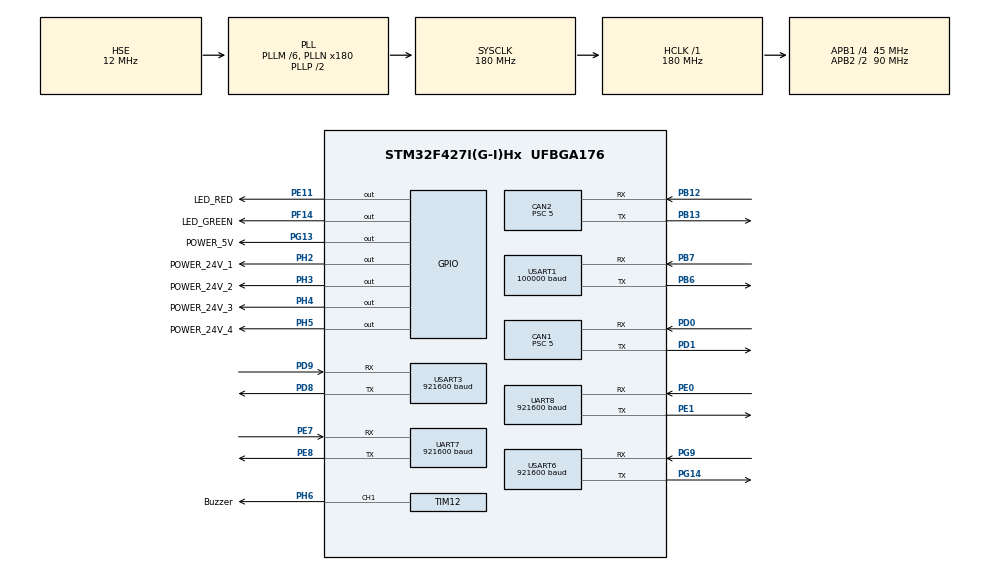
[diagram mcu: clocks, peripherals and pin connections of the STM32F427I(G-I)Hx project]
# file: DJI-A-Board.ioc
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CAN1.ABOM=ENABLE
CAN1.BS1=CAN_BS1_3TQ
CAN1.BS2=CAN_BS2_5TQ
CAN1.CalculateBaudRate=1000000
CAN1.CalculateTimeBit=1000
CAN1.CalculateTimeQuantum=111.11111111111111
CAN1.Prescaler=5
CAN2.ABOM=ENABLE
CAN2.BS1=CAN_BS1_3TQ
CAN2.BS2=CAN_BS2_5TQ
CAN2.CalculateBaudRate=1000000
CAN2.CalculateTimeBit=1000
CAN2.CalculateTimeQuantum=111.11111111111111
CAN2.Prescaler=5
Dma.Request0=USART3_RX
Dma.Request1=USART3_TX
Dma.Request2=UART7_RX
Dma.Request3=USART6_RX
Dma.Request4=USART6_TX
Dma.Request5=UART8_RX
Dma.Request6=UART8_TX
Dma.Request7=USART1_RX
Dma.UART7_RX.2.Direction=DMA_PERIPH_TO_MEMORY
Dma.UART7_RX.2.FIFOMode=DMA_FIFOMODE_DISABLE
Dma.UART7_RX.2.Instance=DMA1_Stream3
Dma.UART7_RX.2.MemDataAlignment=DMA_MDATAALIGN_BYTE
Dma.UART7_RX.2.MemInc=DMA_MINC_ENABLE
Dma.UART7_RX.2.Mode=DMA_NORMAL
Dma.UART7_RX.2.PeriphDataAlignment=DMA_PDATAALIGN_BYTE
Dma.UART7_RX.2.PeriphInc=DMA_PINC_DISABLE
Dma.UART7_RX.2.Priority=DMA_PRIORITY_LOW
Dma.UART8_RX.5.Direction=DMA_PERIPH_TO_MEMORY
Dma.UART8_RX.5.FIFOMode=DMA_FIFOMODE_DISABLE
Dma.UART8_RX.5.Instance=DMA1_Stream6
Dma.UART8_RX.5.MemDataAlignment=DMA_MDATAALIGN_BYTE
Dma.UART8_RX.5.MemInc=DMA_MINC_ENABLE
Dma.UART8_RX.5.Mode=DMA_NORMAL
Dma.UART8_RX.5.PeriphDataAlignment=DMA_PDATAALIGN_BYTE
Dma.UART8_RX.5.PeriphInc=DMA_PINC_DISABLE
Dma.UART8_RX.5.Priority=DMA_PRIORITY_LOW
Dma.UART8_TX.6.Direction=DMA_MEMORY_TO_PERIPH
Dma.UART8_TX.6.FIFOMode=DMA_FIFOMODE_DISABLE
Dma.UART8_TX.6.Instance=DMA1_Stream0
Dma.UART8_TX.6.MemDataAlignment=DMA_MDATAALIGN_BYTE
Dma.UART8_TX.6.MemInc=DMA_MINC_ENABLE
Dma.UART8_TX.6.Mode=DMA_NORMAL
Dma.UART8_TX.6.PeriphDataAlignment=DMA_PDATAALIGN_BYTE
Dma.UART8_TX.6.PeriphInc=DMA_PINC_DISABLE
Dma.UART8_TX.6.Priority=DMA_PRIORITY_LOW
Dma.USART1_RX.7.Direction=DMA_PERIPH_TO_MEMORY
Dma.USART1_RX.7.FIFOMode=DMA_FIFOMODE_DISABLE
Dma.USART1_RX.7.Instance=DMA2_Stream2
Dma.USART1_RX.7.MemDataAlignment=DMA_MDATAALIGN_BYTE
Dma.USART1_RX.7.MemInc=DMA_MINC_ENABLE
Dma.USART1_RX.7.Mode=DMA_CIRCULAR
Dma.USART1_RX.7.PeriphDataAlignment=DMA_PDATAALIGN_BYTE
Dma.USART1_RX.7.PeriphInc=DMA_PINC_DISABLE
Dma.USART1_RX.7.Priority=DMA_PRIORITY_LOW
Dma.USART3_RX.0.Direction=DMA_PERIPH_TO_MEMORY
Dma.USART3_RX.0.FIFOMode=DMA_FIFOMODE_DISABLE
Dma.USART3_RX.0.Instance=DMA1_Stream1
Dma.USART3_RX.0.MemDataAlignment=DMA_MDATAALIGN_BYTE
Dma.USART3_RX.0.MemInc=DMA_MINC_ENABLE
Dma.USART3_RX.0.Mode=DMA_NORMAL
Dma.USART3_RX.0.PeriphDataAlignment=DMA_PDATAALIGN_BYTE
Dma.USART3_RX.0.PeriphInc=DMA_PINC_DISABLE
Dma.USART3_RX.0.Priority=DMA_PRIORITY_LOW
Dma.USART3_TX.1.Direction=DMA_MEMORY_TO_PERIPH
Dma.USART3_TX.1.FIFOMode=DMA_FIFOMODE_DISABLE
Dma.USART3_TX.1.Instance=DMA1_Stream4
Dma.USART3_TX.1.MemDataAlignment=DMA_MDATAALIGN_BYTE
Dma.USART3_TX.1.MemInc=DMA_MINC_ENABLE
Dma.USART3_TX.1.Mode=DMA_NORMAL
Dma.USART3_TX.1.PeriphDataAlignment=DMA_PDATAALIGN_BYTE
Dma.USART3_TX.1.PeriphInc=DMA_PINC_DISABLE
Dma.USART3_TX.1.Priority=DMA_PRIORITY_LOW
Dma.USART6_RX.3.Direction=DMA_PERIPH_TO_MEMORY
Dma.USART6_RX.3.FIFOMode=DMA_FIFOMODE_DISABLE
Dma.USART6_RX.3.Instance=DMA2_Stream1
Dma.USART6_RX.3.MemDataAlignment=DMA_MDATAALIGN_BYTE
Dma.USART6_RX.3.MemInc=DMA_MINC_ENABLE
Dma.USART6_RX.3.Mode=DMA_NORMAL
Dma.USART6_RX.3.PeriphDataAlignment=DMA_PDATAALIGN_BYTE
Dma.USART6_RX.3.PeriphInc=DMA_PINC_DISABLE
Dma.USART6_RX.3.Priority=DMA_PRIORITY_LOW
Dma.USART6_TX.4.Direction=DMA_MEMORY_TO_PERIPH
Dma.USART6_TX.4.FIFOMode=DMA_FIFOMODE_DISABLE
Dma.USART6_TX.4.Instance=DMA2_Stream6
Dma.USART6_TX.4.MemDataAlignment=DMA_MDATAALIGN_BYTE
Dma.USART6_TX.4.MemInc=DMA_MINC_ENABLE
Dma.USART6_TX.4.Mode=DMA_NORMAL
Dma.USART6_TX.4.PeriphDataAlignment=DMA_PDATAALIGN_BYTE
Dma.USART6_TX.4.PeriphInc=DMA_PINC_DISABLE
Dma.USART6_TX.4.Priority=DMA_PRIORITY_LOW
Mcu.Family=STM32F4
Mcu.Name=STM32F427I(G-I)Hx
Mcu.Package=UFBGA176
NVIC.CAN1_RX0_IRQn=true\:0\:0\:false\:false\:true\:true\:true\:true
NVIC.CAN2_RX0_IRQn=true\:0\:0\:false\:false\:true\:true\:true\:true
NVIC.DMA1_Stream0_IRQn=true\:0\:0\:false\:false\:true\:false\:true\:true
NVIC.DMA1_Stream1_IRQn=true\:0\:0\:false\:false\:true\:false\:true\:true
NVIC.DMA1_Stream3_IRQn=true\:0\:0\:false\:false\:true\:false\:true\:true
NVIC.DMA1_Stream4_IRQn=true\:0\:0\:false\:false\:true\:false\:true\:true
NVIC.DMA1_Stream6_IRQn=true\:0\:0\:false\:false\:true\:false\:true\:true
NVIC.DMA2_Stream1_IRQn=true\:0\:0\:false\:false\:true\:false\:true\:true
NVIC.DMA2_Stream2_IRQn=true\:0\:0\:false\:false\:true\:false\:true\:true
NVIC.DMA2_Stream6_IRQn=true\:0\:0\:false\:false\:true\:false\:true\:true
NVIC.PriorityGroup=NVIC_PRIORITYGROUP_4
NVIC.TIM2_IRQn=true\:0\:0\:false\:false\:true\:true\:true\:true
NVIC.UART8_IRQn=true\:0\:0\:false\:false\:true\:true\:true\:true
NVIC.USART1_IRQn=true\:0\:0\:false\:false\:true\:true\:true\:true
NVIC.USART6_IRQn=true\:0\:0\:false\:false\:true\:true\:true\:true
PA13.Mode=Serial_Wire
PA13.Signal=SYS_JTMS-SWDIO
PA14.Mode=Serial_Wire
PA14.Signal=SYS_JTCK-SWCLK
PB12.Mode=CAN_Activate
PB12.Signal=CAN2_RX
PB13.Mode=CAN_Activate
PB13.Signal=CAN2_TX
PB6.GPIO_PuPd=GPIO_NOPULL
PB6.Mode=Asynchronous
PB6.Signal=USART1_TX
PB7.GPIO_PuPd=GPIO_NOPULL
PB7.Mode=Asynchronous
PB7.Signal=USART1_RX
PD0.Mode=CAN_Activate
PD0.Signal=CAN1_RX
PD1.Mode=CAN_Activate
PD1.Signal=CAN1_TX
PD8.Mode=Asynchronous
PD8.Signal=USART3_TX
PD9.Mode=Asynchronous
PD9.Signal=USART3_RX
PE0.Mode=Asynchronous
PE0.Signal=UART8_RX
PE1.Mode=Asynchronous
PE1.Signal=UART8_TX
PE11.GPIO_Label=LED_RED
PE11.GPIO_PuPd=GPIO_PULLUP
PE11.PinState=GPIO_PIN_SET
PE11.Signal=GPIO_Output
PE7.Mode=Asynchronous
PE7.Signal=UART7_RX
PE8.Mode=Asynchronous
PE8.Signal=UART7_TX
PF14.GPIO_Label=LED_GREEN
PF14.GPIO_PuPd=GPIO_PULLUP
PF14.PinState=GPIO_PIN_SET
PF14.Signal=GPIO_Output
PG13.GPIO_Label=POWER_5V
PG13.Signal=GPIO_Output
PG14.GPIO_PuPd=GPIO_NOPULL
PG14.Mode=Asynchronous
PG14.Signal=USART6_TX
PG9.GPIO_PuPd=GPIO_NOPULL
PG9.Mode=Asynchronous
PG9.Signal=USART6_RX
PH0/OSC_IN.Mode=HSE-External-Oscillator
PH0/OSC_IN.Signal=RCC_OSC_IN
PH1/OSC_OUT.Mode=HSE-External-Oscillator
PH1/OSC_OUT.Signal=RCC_OSC_OUT
PH2.GPIO_Label=POWER_24V_1
PH2.GPIO_PuPd=GPIO_PULLUP
PH2.PinState=GPIO_PIN_SET
PH2.Signal=GPIO_Output
PH3.GPIO_Label=POWER_24V_2
PH3.GPIO_PuPd=GPIO_PULLUP
PH3.PinState=GPIO_PIN_SET
PH3.Signal=GPIO_Output
PH4.GPIO_Label=POWER_24V_3
PH4.GPIO_PuPd=GPIO_PULLUP
PH4.PinState=GPIO_PIN_SET
PH4.Signal=GPIO_Output
PH5.GPIO_Label=POWER_24V_4
PH5.GPIO_PuPd=GPIO_PULLUP
PH5.PinState=GPIO_PIN_SET
PH5.Signal=GPIO_Output
PH6.GPIO_Label=Buzzer
PH6.Signal=S_TIM12_CH1
ProjectManager.HeapSize=0x200
ProjectManager.StackSize=0x400
ProjectManager.TargetToolchain=STM32CubeIDE
RCC.48MHZClocksFreq_Value=90000000
RCC.AHBFreq_Value=180000000
RCC.APB1CLKDivider=RCC_HCLK_DIV4
RCC.APB1Freq_Value=45000000
RCC.APB1TimFreq_Value=90000000
RCC.APB2CLKDivider=RCC_HCLK_DIV2
RCC.APB2Freq_Value=90000000
RCC.APB2TimFreq_Value=180000000
RCC.CortexFreq_Value=180000000
RCC.HCLKFreq_Value=180000000
RCC.HSE_VALUE=12000000
RCC.HSI_VALUE=16000000
RCC.LSE_VALUE=32768
RCC.PLLM=6
RCC.PLLN=180
RCC.PLLSourceVirtual=RCC_PLLSOURCE_HSE
RCC.SYSCLKFreq_VALUE=180000000
RCC.SYSCLKSource=RCC_SYSCLKSOURCE_PLLCLK
RCC.VCOOutputFreq_Value=360000000
SH.S_TIM12_CH1.0=TIM12_CH1,PWM Generation1 CH1
TIM12.Channel-PWM\ Generation1\ CH1=TIM_CHANNEL_1
TIM12.Prescaler=9-1
TIM2.AutoReloadPreload=TIM_AUTORELOAD_PRELOAD_ENABLE
TIM2.Period=200-1
TIM2.Prescaler=45-1
TIM2.TIM_MasterOutputTrigger=TIM_TRGO_RESET
UART7.BaudRate=921600
UART7.VirtualMode=Asynchronous
UART8.BaudRate=921600
UART8.VirtualMode=Asynchronous
USART1.BaudRate=100000
USART1.Mode=MODE_TX_RX
USART1.Parity=PARITY_EVEN
USART1.VirtualMode=VM_ASYNC
USART3.BaudRate=921600
USART3.VirtualMode=VM_ASYNC
USART6.BaudRate=921600
USART6.VirtualMode=VM_ASYNC
VP_TIM12_VS_ClockSourceINT.Mode=Internal
VP_TIM14_VS_ClockSourceINT.Mode=Enable_Timer
VP_TIM2_VS_ClockSourceINT.Mode=Internal
board=custom

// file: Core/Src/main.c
/* USER CODE BEGIN Header */
/**
  ******************************************************************************
  * @file           : main.c
  * @brief          : Main program body
  ******************************************************************************
  * @attention
  *
  * Copyright (c) 2025 STMicroelectronics.
  * All rights reserved.
  *
  * This software is licensed under terms that can be found in the LICENSE file
  * in the root directory of this software component.
  * If no LICENSE file comes with this software, it is provided AS-IS.
  *
  ******************************************************************************
  */
/* USER CODE END Header */
#include "main.h"

/* USER CODE BEGIN Includes */
#include  "bsp.h"
#include <stdio.h>

/* USER CODE END Includes */

CAN_HandleTypeDef hcan1;
CAN_HandleTypeDef hcan2;

TIM_HandleTypeDef htim2;
TIM_HandleTypeDef htim12;
TIM_HandleTypeDef htim14;

UART_HandleTypeDef huart7;
UART_HandleTypeDef huart8;
UART_HandleTypeDef huart1;
UART_HandleTypeDef huart3;
UART_HandleTypeDef huart6;
DMA_HandleTypeDef hdma_uart7_rx;
DMA_HandleTypeDef hdma_uart8_rx;
DMA_HandleTypeDef hdma_uart8_tx;
DMA_HandleTypeDef hdma_usart1_rx;
DMA_HandleTypeDef hdma_usart3_rx;
DMA_HandleTypeDef hdma_usart3_tx;
DMA_HandleTypeDef hdma_usart6_rx;
DMA_HandleTypeDef hdma_usart6_tx;

void SystemClock_Config(void);
static void MX_GPIO_Init(void);
static void MX_DMA_Init(void);
static void MX_USART1_UART_Init(void);
static void MX_CAN1_Init(void);
static void MX_CAN2_Init(void);
static void MX_TIM12_Init(void);
static void MX_TIM2_Init(void);
static void MX_USART3_UART_Init(void);
static void MX_UART7_Init(void);
static void MX_USART6_UART_Init(void);
static void MX_UART8_Init(void);
static void MX_TIM14_Init(void);

int main(void)
{

  /* MCU Configuration--------------------------------------------------------*/

  /* Reset of all peripherals, Initializes the Flash interface and the Systick. */
  HAL_Init();

  /* Configure the system clock */
  SystemClock_Config();

  /* Initialize all configured peripherals */
  MX_GPIO_Init();
  MX_DMA_Init();
  MX_USART1_UART_Init();
  MX_CAN1_Init();
  MX_CAN2_Init();
  MX_TIM12_Init();
  MX_TIM2_Init();
  MX_USART3_UART_Init();
  MX_UART7_Init();
  MX_USART6_UART_Init();
  MX_UART8_Init();
  MX_TIM14_Init();
  /* USER CODE BEGIN 2 */
  JScope_Init(&htim2);

  LED_Init(&user_green_led, LED_GREEN_GPIO_Port, LED_GREEN_Pin, 1);
  LED_On(&user_green_led);

  //串口初始化
  UART_Init(&vt03_uart, &huart3);
  UART_Init(&PC_uart, &huart6 );

  UART_Init(&hwt906_uart_chassis, &huart8);

  LED_Init(&user_red_led, LED_RED_GPIO_Port, LED_RED_Pin, 1);
  LED_Init(&user_green_led, LED_GREEN_GPIO_Port, LED_GREEN_Pin, 1);

  CAN_Init(&user_can_1, &hcan1);
  CAN_Init(&user_can_2, &hcan2);

  //vt03初始化
  DJI_VT03_Init(&user_vt03 , &vt03_uart);
  DBUS_Init(&dji_user_dbus , &huart1);

  //PC串口初始化
  PC_Init(&user_PC , &PC_uart);

  //遥控器初始化
  user_remote_init(&virtual_user_remote,ZhouZishun_Config);

  PID_Init(&TP_M2006_Controller , 10.0f, 0.0f, 400.0f ,10000 ,0);
  DJI_Motor_Init(&TP_M2006, &user_can_1, 4 , DJI_Motor_Get_Angle(&TP_M2006) , M2006 , Rotor_angle , (CONTROLLER_INTERFACE*)&TP_M2006_Controller);
  PID_Init(&RW_M3508_Controller , 20.0f, 0.0f, 25.0f ,14000 ,0);
  PID_Init(&LW_M3508_Controller , 20.0f, 0.0f, 25.0f ,14000 ,0);
  DJI_Motor_Init(&RW_M3508, &user_can_1, 3 , 0 , M3508_gear , Rotor_speed , (CONTROLLER_INTERFACE*)&RW_M3508_Controller);
  DJI_Motor_Init(&LW_M3508, &user_can_1, 1 , 0 , M3508_gear , Rotor_speed , (CONTROLLER_INTERFACE*)&LW_M3508_Controller);
  LADRC_Init(&GM_6020_Controller , 26.0f, 390.0f, 24.0f , 3.5f ,12000.0f ,0.001f);
  DJI_Motor_Init(&PICH_GM6020, &user_can_1, 2 , 1980 , GM6020 , Rotor_angle , (CONTROLLER_INTERFACE*)&GM_6020_Controller);

  /* USER CODE END 2 */

  /* Infinite loop */
  while (1)
  {

    /* USER CODE BEGIN 3 */
    LOOP_EVENT_Handle();
  }
  /* USER CODE END 3 */
}

void SystemClock_Config(void)
{
  RCC_OscInitTypeDef RCC_OscInitStruct = {0};
  RCC_ClkInitTypeDef RCC_ClkInitStruct = {0};

  /** Configure the main internal regulator output voltage
  */
  __HAL_RCC_PWR_CLK_ENABLE();
  __HAL_PWR_VOLTAGESCALING_CONFIG(PWR_REGULATOR_VOLTAGE_SCALE1);

  /** Initializes the RCC Oscillators according to the specified parameters
  * in the RCC_OscInitTypeDef structure.
  */
  RCC_OscInitStruct.OscillatorType = RCC_OSCILLATORTYPE_HSE;
  RCC_OscInitStruct.HSEState = RCC_HSE_ON;
  RCC_OscInitStruct.PLL.PLLState = RCC_PLL_ON;
  RCC_OscInitStruct.PLL.PLLSource = RCC_PLLSOURCE_HSE;
  RCC_OscInitStruct.PLL.PLLM = 6;
  RCC_OscInitStruct.PLL.PLLN = 180;
  RCC_OscInitStruct.PLL.PLLP = RCC_PLLP_DIV2;
  RCC_OscInitStruct.PLL.PLLQ = 4;
  if (HAL_RCC_OscConfig(&RCC_OscInitStruct) != HAL_OK)
  {
    Error_Handler();
  }

  /** Activate the Over-Drive mode
  */
  if (HAL_PWREx_EnableOverDrive() != HAL_OK)
  {
    Error_Handler();
  }

  /** Initializes the CPU, AHB and APB buses clocks
  */
  RCC_ClkInitStruct.ClockType = RCC_CLOCKTYPE_HCLK|RCC_CLOCKTYPE_SYSCLK
                              |RCC_CLOCKTYPE_PCLK1|RCC_CLOCKTYPE_PCLK2;
  RCC_ClkInitStruct.SYSCLKSource = RCC_SYSCLKSOURCE_PLLCLK;
  RCC_ClkInitStruct.AHBCLKDivider = RCC_SYSCLK_DIV1;
  RCC_ClkInitStruct.APB1CLKDivider = RCC_HCLK_DIV4;
  RCC_ClkInitStruct.APB2CLKDivider = RCC_HCLK_DIV2;

  if (HAL_RCC_ClockConfig(&RCC_ClkInitStruct, FLASH_LATENCY_5) != HAL_OK)
  {
    Error_Handler();
  }
}

static void MX_CAN1_Init(void)
{

  hcan1.Instance = CAN1;
  hcan1.Init.Prescaler = 5;
  hcan1.Init.Mode = CAN_MODE_NORMAL;
  hcan1.Init.SyncJumpWidth = CAN_SJW_1TQ;
  hcan1.Init.TimeSeg1 = CAN_BS1_3TQ;
  hcan1.Init.TimeSeg2 = CAN_BS2_5TQ;
  hcan1.Init.TimeTriggeredMode = DISABLE;
  hcan1.Init.AutoBusOff = ENABLE;
  hcan1.Init.AutoWakeUp = DISABLE;
  hcan1.Init.AutoRetransmission = DISABLE;
  hcan1.Init.ReceiveFifoLocked = DISABLE;
  hcan1.Init.TransmitFifoPriority = DISABLE;
  if (HAL_CAN_Init(&hcan1) != HAL_OK)
  {
    Error_Handler();
  }

}

static void MX_CAN2_Init(void)
{

  hcan2.Instance = CAN2;
  hcan2.Init.Prescaler = 5;
  hcan2.Init.Mode = CAN_MODE_NORMAL;
  hcan2.Init.SyncJumpWidth = CAN_SJW_1TQ;
  hcan2.Init.TimeSeg1 = CAN_BS1_3TQ;
  hcan2.Init.TimeSeg2 = CAN_BS2_5TQ;
  hcan2.Init.TimeTriggeredMode = DISABLE;
  hcan2.Init.AutoBusOff = ENABLE;
  hcan2.Init.AutoWakeUp = DISABLE;
  hcan2.Init.AutoRetransmission = DISABLE;
  hcan2.Init.ReceiveFifoLocked = DISABLE;
  hcan2.Init.TransmitFifoPriority = DISABLE;
  if (HAL_CAN_Init(&hcan2) != HAL_OK)
  {
    Error_Handler();
  }

}

static void MX_TIM2_Init(void)
{

  TIM_ClockConfigTypeDef sClockSourceConfig = {0};
  TIM_MasterConfigTypeDef sMasterConfig = {0};

  htim2.Instance = TIM2;
  htim2.Init.Prescaler = 45-1;
  htim2.Init.CounterMode = TIM_COUNTERMODE_UP;
  htim2.Init.Period = 200-1;
  htim2.Init.ClockDivision = TIM_CLOCKDIVISION_DIV1;
  htim2.Init.AutoReloadPreload = TIM_AUTORELOAD_PRELOAD_ENABLE;
  if (HAL_TIM_Base_Init(&htim2) != HAL_OK)
  {
    Error_Handler();
  }
  sClockSourceConfig.ClockSource = TIM_CLOCKSOURCE_INTERNAL;
  if (HAL_TIM_ConfigClockSource(&htim2, &sClockSourceConfig) != HAL_OK)
  {
    Error_Handler();
  }
  sMasterConfig.MasterOutputTrigger = TIM_TRGO_RESET;
  sMasterConfig.MasterSlaveMode = TIM_MASTERSLAVEMODE_DISABLE;
  if (HAL_TIMEx_MasterConfigSynchronization(&htim2, &sMasterConfig) != HAL_OK)
  {
    Error_Handler();
  }

}

static void MX_TIM12_Init(void)
{

  TIM_ClockConfigTypeDef sClockSourceConfig = {0};
  TIM_OC_InitTypeDef sConfigOC = {0};

  htim12.Instance = TIM12;
  htim12.Init.Prescaler = 9-1;
  htim12.Init.CounterMode = TIM_COUNTERMODE_UP;
  htim12.Init.Period = 65535;
  htim12.Init.ClockDivision = TIM_CLOCKDIVISION_DIV1;
  htim12.Init.AutoReloadPreload = TIM_AUTORELOAD_PRELOAD_DISABLE;
  if (HAL_TIM_Base_Init(&htim12) != HAL_OK)
  {
    Error_Handler();
  }
  sClockSourceConfig.ClockSource = TIM_CLOCKSOURCE_INTERNAL;
  if (HAL_TIM_ConfigClockSource(&htim12, &sClockSourceConfig) != HAL_OK)
  {
    Error_Handler();
  }
  if (HAL_TIM_PWM_Init(&htim12) != HAL_OK)
  {
    Error_Handler();
  }
  sConfigOC.OCMode = TIM_OCMODE_PWM1;
  sConfigOC.Pulse = 0;
  sConfigOC.OCPolarity = TIM_OCPOLARITY_HIGH;
  sConfigOC.OCFastMode = TIM_OCFAST_DISABLE;
  if (HAL_TIM_PWM_ConfigChannel(&htim12, &sConfigOC, TIM_CHANNEL_1) != HAL_OK)
  {
    Error_Handler();
  }
  HAL_TIM_MspPostInit(&htim12);

}

static void MX_TIM14_Init(void)
{

  htim14.Instance = TIM14;
  htim14.Init.Prescaler = 0;
  htim14.Init.CounterMode = TIM_COUNTERMODE_UP;
  htim14.Init.Period = 65535;
  htim14.Init.ClockDivision = TIM_CLOCKDIVISION_DIV1;
  htim14.Init.AutoReloadPreload = TIM_AUTORELOAD_PRELOAD_DISABLE;
  if (HAL_TIM_Base_Init(&htim14) != HAL_OK)
  {
    Error_Handler();
  }

}

static void MX_UART7_Init(void)
{

  huart7.Instance = UART7;
  huart7.Init.BaudRate = 921600;
  huart7.Init.WordLength = UART_WORDLENGTH_8B;
  huart7.Init.StopBits = UART_STOPBITS_1;
  huart7.Init.Parity = UART_PARITY_NONE;
  huart7.Init.Mode = UART_MODE_TX_RX;
  huart7.Init.HwFlowCtl = UART_HWCONTROL_NONE;
  huart7.Init.OverSampling = UART_OVERSAMPLING_16;
  if (HAL_UART_Init(&huart7) != HAL_OK)
  {
    Error_Handler();
  }

}

static void MX_UART8_Init(void)
{

  huart8.Instance = UART8;
  huart8.Init.BaudRate = 921600;
  huart8.Init.WordLength = UART_WORDLENGTH_8B;
  huart8.Init.StopBits = UART_STOPBITS_1;
  huart8.Init.Parity = UART_PARITY_NONE;
  huart8.Init.Mode = UART_MODE_TX_RX;
  huart8.Init.HwFlowCtl = UART_HWCONTROL_NONE;
  huart8.Init.OverSampling = UART_OVERSAMPLING_16;
  if (HAL_UART_Init(&huart8) != HAL_OK)
  {
    Error_Handler();
  }

}

static void MX_USART1_UART_Init(void)
{

  huart1.Instance = USART1;
  huart1.Init.BaudRate = 100000;
  huart1.Init.WordLength = UART_WORDLENGTH_8B;
  huart1.Init.StopBits = UART_STOPBITS_1;
  huart1.Init.Parity = UART_PARITY_EVEN;
  huart1.Init.Mode = UART_MODE_TX_RX;
  huart1.Init.HwFlowCtl = UART_HWCONTROL_NONE;
  huart1.Init.OverSampling = UART_OVERSAMPLING_16;
  if (HAL_UART_Init(&huart1) != HAL_OK)
  {
    Error_Handler();
  }

}

static void MX_USART3_UART_Init(void)
{

  huart3.Instance = USART3;
  huart3.Init.BaudRate = 921600;
  huart3.Init.WordLength = UART_WORDLENGTH_8B;
  huart3.Init.StopBits = UART_STOPBITS_1;
  huart3.Init.Parity = UART_PARITY_NONE;
  huart3.Init.Mode = UART_MODE_TX_RX;
  huart3.Init.HwFlowCtl = UART_HWCONTROL_NONE;
  huart3.Init.OverSampling = UART_OVERSAMPLING_16;
  if (HAL_UART_Init(&huart3) != HAL_OK)
  {
    Error_Handler();
  }

}

static void MX_USART6_UART_Init(void)
{

  huart6.Instance = USART6;
  huart6.Init.BaudRate = 921600;
  huart6.Init.WordLength = UART_WORDLENGTH_8B;
  huart6.Init.StopBits = UART_STOPBITS_1;
  huart6.Init.Parity = UART_PARITY_NONE;
  huart6.Init.Mode = UART_MODE_TX_RX;
  huart6.Init.HwFlowCtl = UART_HWCONTROL_NONE;
  huart6.Init.OverSampling = UART_OVERSAMPLING_16;
  if (HAL_UART_Init(&huart6) != HAL_OK)
  {
    Error_Handler();
  }

}

static void MX_DMA_Init(void)
{

  /* DMA controller clock enable */
  __HAL_RCC_DMA1_CLK_ENABLE();
  __HAL_RCC_DMA2_CLK_ENABLE();

  /* DMA interrupt init */
  /* DMA1_Stream0_IRQn interrupt configuration */
  HAL_NVIC_SetPriority(DMA1_Stream0_IRQn, 0, 0);
  HAL_NVIC_EnableIRQ(DMA1_Stream0_IRQn);
  /* DMA1_Stream1_IRQn interrupt configuration */
  HAL_NVIC_SetPriority(DMA1_Stream1_IRQn, 0, 0);
  HAL_NVIC_EnableIRQ(DMA1_Stream1_IRQn);
  /* DMA1_Stream3_IRQn interrupt configuration */
  HAL_NVIC_SetPriority(DMA1_Stream3_IRQn, 0, 0);
  HAL_NVIC_EnableIRQ(DMA1_Stream3_IRQn);
  /* DMA1_Stream4_IRQn interrupt configuration */
  HAL_NVIC_SetPriority(DMA1_Stream4_IRQn, 0, 0);
  HAL_NVIC_EnableIRQ(DMA1_Stream4_IRQn);
  /* DMA1_Stream6_IRQn interrupt configuration */
  HAL_NVIC_SetPriority(DMA1_Stream6_IRQn, 0, 0);
  HAL_NVIC_EnableIRQ(DMA1_Stream6_IRQn);
  /* DMA2_Stream1_IRQn interrupt configuration */
  HAL_NVIC_SetPriority(DMA2_Stream1_IRQn, 0, 0);
  HAL_NVIC_EnableIRQ(DMA2_Stream1_IRQn);
  /* DMA2_Stream2_IRQn interrupt configuration */
  HAL_NVIC_SetPriority(DMA2_Stream2_IRQn, 0, 0);
  HAL_NVIC_EnableIRQ(DMA2_Stream2_IRQn);
  /* DMA2_Stream6_IRQn interrupt configuration */
  HAL_NVIC_SetPriority(DMA2_Stream6_IRQn, 0, 0);
  HAL_NVIC_EnableIRQ(DMA2_Stream6_IRQn);

}

static void MX_GPIO_Init(void)
{
  GPIO_InitTypeDef GPIO_InitStruct = {0};

  /* GPIO Ports Clock Enable */
  __HAL_RCC_GPIOE_CLK_ENABLE();
  __HAL_RCC_GPIOG_CLK_ENABLE();
  __HAL_RCC_GPIOA_CLK_ENABLE();
  __HAL_RCC_GPIOB_CLK_ENABLE();
  __HAL_RCC_GPIOD_CLK_ENABLE();
  __HAL_RCC_GPIOH_CLK_ENABLE();
  __HAL_RCC_GPIOF_CLK_ENABLE();

  /*Configure GPIO pin Output Level */
  HAL_GPIO_WritePin(POWER_5V_GPIO_Port, POWER_5V_Pin, GPIO_PIN_RESET);

  /*Configure GPIO pin Output Level */
  HAL_GPIO_WritePin(GPIOH, POWER_24V_1_Pin|POWER_24V_2_Pin|POWER_24V_3_Pin|POWER_24V_4_Pin, GPIO_PIN_SET);

  /*Configure GPIO pin Output Level */
  HAL_GPIO_WritePin(LED_RED_GPIO_Port, LED_RED_Pin, GPIO_PIN_SET);

  /*Configure GPIO pin Output Level */
  HAL_GPIO_WritePin(LED_GREEN_GPIO_Port, LED_GREEN_Pin, GPIO_PIN_SET);

  /*Configure GPIO pin : POWER_5V_Pin */
  GPIO_InitStruct.Pin = POWER_5V_Pin;
  GPIO_InitStruct.Mode = GPIO_MODE_OUTPUT_PP;
  GPIO_InitStruct.Pull = GPIO_NOPULL;
  GPIO_InitStruct.Speed = GPIO_SPEED_FREQ_LOW;
  HAL_GPIO_Init(POWER_5V_GPIO_Port, &GPIO_InitStruct);

  /*Configure GPIO pins : POWER_24V_1_Pin POWER_24V_2_Pin POWER_24V_3_Pin POWER_24V_4_Pin */
  GPIO_InitStruct.Pin = POWER_24V_1_Pin|POWER_24V_2_Pin|POWER_24V_3_Pin|POWER_24V_4_Pin;
  GPIO_InitStruct.Mode = GPIO_MODE_OUTPUT_PP;
  GPIO_InitStruct.Pull = GPIO_PULLUP;
  GPIO_InitStruct.Speed = GPIO_SPEED_FREQ_LOW;
  HAL_GPIO_Init(GPIOH, &GPIO_InitStruct);

  /*Configure GPIO pin : LED_RED_Pin */
  GPIO_InitStruct.Pin = LED_RED_Pin;
  GPIO_InitStruct.Mode = GPIO_MODE_OUTPUT_PP;
  GPIO_InitStruct.Pull = GPIO_PULLUP;
  GPIO_InitStruct.Speed = GPIO_SPEED_FREQ_LOW;
  HAL_GPIO_Init(LED_RED_GPIO_Port, &GPIO_InitStruct);

  /*Configure GPIO pin : LED_GREEN_Pin */
  GPIO_InitStruct.Pin = LED_GREEN_Pin;
  GPIO_InitStruct.Mode = GPIO_MODE_OUTPUT_PP;
  GPIO_InitStruct.Pull = GPIO_PULLUP;
  GPIO_InitStruct.Speed = GPIO_SPEED_FREQ_LOW;
  HAL_GPIO_Init(LED_GREEN_GPIO_Port, &GPIO_InitStruct);

}

void Error_Handler(void)
{
  __disable_irq();
  while (1)
  {
  }
}
